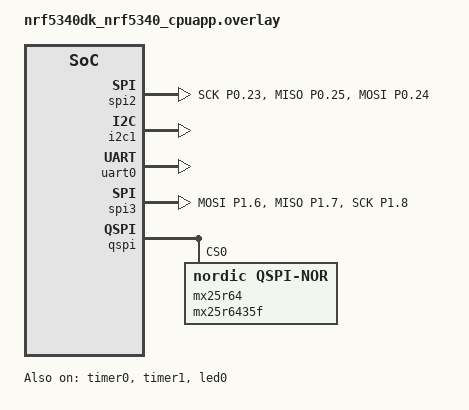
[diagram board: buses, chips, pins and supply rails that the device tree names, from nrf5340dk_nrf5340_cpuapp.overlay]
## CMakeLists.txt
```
# SPDX-License-Identifier: Apache-2.0

# This is a general purpose project created from MotionSenseHRV to be used for data collection.

# Ohio State SENSE LAB
cmake_minimum_required(VERSION 3.20.0)
find_package(Zephyr REQUIRED HINTS $ENV{ZEPHYR_BASE})
project(MotionSenseHrv)

if((NOT CONFIG_DISK_DRIVER_FLASH) AND
   (NOT CONFIG_DISK_DRIVER_RAM) AND
   (NOT CONFIG_DISK_DRIVER_SDMMC))
	message(WARNING "No disk access settings detected." )
endif()
#
#we previously used GLOB_RECURSE, but that was deprecated since we want to have control over what code is included.
FILE(GLOB_RECURSE app_sources src/*.cc)
FILE(GLOB_RECURSE c_app_sources src/*.c)
target_sources(app PRIVATE ${app_sources} 
${c_app_sources})

#if(CONFIG_BUILD_WITH_TFM)
#  target_include_directories(app PRIVATE
#    $<TARGET_PROPERTY:tfm,TFM_BINARY_DIR>/install/interface/include
#  )
#endif()
```

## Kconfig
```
# Copyright (c) 2019-2020 Nordic Semiconductor ASA
# SPDX-License-Identifier: Apache-2.0

config APP_WIPE_STORAGE
	bool "Option to clear the flash area before mounting"
	help
	  Use this to force an existing file system to be created.

choice
	prompt "Storage and file system type used by the application"
	default APP_MSC_STORAGE_NONE
	help
	  Specify the type of storage and file system.

config APP_MSC_STORAGE_NONE
	bool "Use RAM disk as block device"
	imply DISK_DRIVER_RAM

config APP_MSC_STORAGE_RAM
	bool "Use RAM disk and FAT file system"
	imply DISK_DRIVER_RAM
	imply FILE_SYSTEM
	imply FAT_FILESYSTEM_ELM

config APP_MSC_STORAGE_FLASH_FATFS
	bool "Use FLASH disk and FAT file system"
	imply DISK_DRIVER_FLASH
	imply FILE_SYSTEM
	imply FAT_FILESYSTEM_ELM

config APP_MSC_STORAGE_FLASH_LITTLEFS
	bool "Use FLASH disk and LittleFS"
	imply DISK_DRIVER_FLASH
	imply FILE_SYSTEM
	imply FILE_SYSTEM_LITTLEFS

config APP_MSC_STORAGE_SDCARD
	bool "Use SDHC and FAT file system"
	imply DISK_DRIVER_SDMMC
	imply FILE_SYSTEM
	imply FAT_FILESYSTEM_ELM

endchoice

config DISK_RAM_VOLUME_SIZE
	default 32 if APP_MSC_STORAGE_NONE

config MASS_STORAGE_DISK_NAME
	default "NAND" if DISK_DRIVER_FLASH
	default "RAM" if DISK_DRIVER_RAM
	default "SD" if DISK_DRIVER_SDMMC

if DISK_DRIVER_FLASH

config FLASH_MAP
	default y

config FLASH_PAGE_LAYOUT
	default y

config FLASH_LOG_LEVEL
	default 3

if NORDIC_QSPI_NOR

config NORDIC_QSPI_NOR_FLASH_LAYOUT_PAGE_SIZE
	default 4096

endif # NORDIC_QSPI_NOR

endif # DISK_DRIVER_FLASH

config MSENSE3_BLUETOOTH_DATA_UPDATES
	bool "Use MotionSenseHRV3Updates"
	default n

config BLUETOOTH_SETTINGS_OVERRIDE
	int "Override User Set Bluetooth Settings"
	default 1

source "Kconfig.zephyr"
```

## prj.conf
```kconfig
#CONFIG_NCS_SAMPLES_DEFAULTS=y

CONFIG_STDOUT_CONSOLE=y

# deprecated:
#CONFIG_CPLUSPLUS=y
#CONFIG_STD_CPP11=y
#CONFIG_NEWLIB_LIBC=y
#CONFIG_LIB_CPLUSPLUS=y


CONFIG_DEBUG_OPTIMIZATIONS=y
#CONFIG_SIZE_OPTIMIZATIONS=y





#Gpio Config
CONFIG_GPIO=y
CONFIG_NRFX_GPIOTE=y


# SPI Config
CONFIG_SPI=y
CONFIG_NRFX_QSPI=y

#I2C config
CONFIG_I2C=y


# Deprecated:
#CONFIG_SPI_1=y
# replace with this instead: CONFIG_NRFX_SPI1=y


#Log config
CONFIG_LOG=y
CONFIG_LOG_DEFAULT_LEVEL=3
CONFIG_LOG_MODE_MINIMAL=n
#CONFIG_RAM_CONSOLE=y
CONFIG_USE_SEGGER_RTT=y
CONFIG_LOG_BACKEND_RTT=y
CONFIG_RTT_CONSOLE=y
#CONFIG_UART_CONSOLE=n

CONFIG_LOG_PRINTK=y


# CMSIS config
CONFIG_CMSIS_DSP=y
CONFIG_CMSIS_DSP_BASICMATH=y
CONFIG_CMSIS_DSP_COMPLEXMATH=n
CONFIG_CMSIS_DSP_CONTROLLER=n
CONFIG_CMSIS_DSP_DISTANCE=n
CONFIG_CMSIS_DSP_FASTMATH=y
CONFIG_CMSIS_DSP_FILTERING=y
CONFIG_CMSIS_DSP_MATRIX=y
CONFIG_CMSIS_DSP_STATISTICS=y
CONFIG_CMSIS_DSP_TRANSFORM=n
CONFIG_CMSIS_DSP_SUPPORT=y

# timer config
CONFIG_NRFX_TIMER0=y
CONFIG_NRFX_TIMER1=y

#FPU config
CONFIG_FPU=y
CONFIG_FP_HARDABI=y


# Library for buttons and LEDs
CONFIG_DK_LIBRARY=y



# Enable bluetooth and bonding
CONFIG_BT=y

#CONFIG_BT_BONDABLE=y
#CONFIG_BT_BONDING_REQUIRED=y

#Deprecated:
#CONFIG_BT_DEBUG_LOG=y


CONFIG_BT_DEVICE_APPEARANCE=833


#CONFIG_BT_GAP_PERIPHERAL_PREF_PARAMS=y
#CONFIG_BT_MAX_CONN=1

CONFIG_BT_PERIPHERAL=y
CONFIG_BT_PERIPHERAL_PREF_MAX_INT=10
CONFIG_BT_PERIPHERAL_PREF_MIN_INT=6

#this is in miliseconds
CONFIG_BT_PERIPHERAL_PREF_TIMEOUT=100
CONFIG_BT_DEVICE_NAME="MotionSenseF2"

#maybe we will need this once on the actual device or something? I'm not sure
#CONFIG_BT_CTLR=y

#CONFIG_BT_CTLR_CONN_PARAM_REQ_SUPPORT=y
#CONFIG_BT_CTLR_CONN_PARAM_REQ=y
CONFIG_BT_SMP=y

# ENABLE device information service
CONFIG_BT_DIS=y
CONFIG_BT_DIS_MANUF="SenseLab"
CONFIG_BT_DIS_PNP=n
CONFIG_BT_DIS_MODEL="MOTIONSENSEHRV4"
CONFIG_BT_DIS_SETTINGS=y
CONFIG_BT_MAX_PAIRED=1

# Enable Battery settings
CONFIG_BT_BAS=y


#DFU/FOTA settings

#temporarily disabling for now

#CONFIG_MCUMGR=y
#
#CONFIG_STATS=y
#CONFIG_STATS_NAMES=y

#CONFIG_THREAD_MONITOR=y

#CONFIG_BOOTLOADER_MCUBOOT=y
#CONFIG_MCUBOOT_GENERATE_CONFIRMED_IMAGE=y
#CONFIG_MCUMGR_CMD_OS_MGMT=y
#CONFIG_MCUMGR_CMD_STAT_MGMT=y
#CONFIG_MCUMGR_CMD_IMG_MGMT=y
#CONFIG_MCUMGR_CMD_FS_MGMT=y
#CONFIG_MCUMGR_SMP_BT=y


#CONFIG_MCUMGR_LOG_LEVEL_DBG=n

#CONFIG_MCUMGR_SMP_BT_AUTHEN=n



#CONFIG_SETTINGS_RUNTIME=y

#CONFIG_SETTINGS_NONE=y
#CONFIG_FLASH=y
#CONFIG_FLASH_PAGE_LAYOUT=y
#CONFIG_FLASH_MAP=y
CONFIG_NVS=n


#CONFIG_APP_MSC_STORAGE_FLASH_LITTLEFS=y
# flash config

#CONFIG_FAT_FILESYSTEM_ELM=y

# not sure what this is
#CONFIG_MPU_ALLOW_FLASH_WRITE=y

#USB related configs
CONFIG_USB_DEVICE_STACK=y
CONFIG_USB_DEVICE_PRODUCT="Zephyr MSC sample"
CONFIG_USB_DEVICE_PID=0x0008

CONFIG_TEST_RANDOM_GENERATOR=y
CONFIG_TIMER_RANDOM_GENERATOR=y
CONFIG_USB_DRIVER_LOG_LEVEL_ERR=y
CONFIG_USB_MASS_STORAGE=y


CONFIG_DISK_DRIVER_FLASH=y
CONFIG_FILE_SYSTEM=y
#CONFIG_FILE_SYSTEM_LITTLEFS=y
#CONFIG_FAT_FILESYSTEM_ELM=y
CONFIG_APP_MSC_STORAGE_FLASH_LITTLEFS=y
CONFIG_FLASH_MAP=y
CONFIG_FLASH_PAGE_LAYOUT=y

CONFIG_NORDIC_QSPI_NOR_FLASH_LAYOUT_PAGE_SIZE=4096

CONFIG_GPIO_AS_PINRESET=n

CONFIG_USB_DEVICE_LOG_LEVEL_ERR=y
CONFIG_USB_MASS_STORAGE_LOG_LEVEL_ERR=y
CONFIG_USB_DEVICE_INITIALIZE_AT_BOOT=n




CONFIG_SYSTEM_WORKQUEUE_STACK_SIZE=30192
CONFIG_HEAP_MEM_POOL_SIZE=62384
CONFIG_MAIN_STACK_SIZE=50192
```

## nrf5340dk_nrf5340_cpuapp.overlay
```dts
// press Ctrl+Space to bring up the completion menu and view the available nodes.

// You can also use the buttons in the sidebar to perform actions on nodes.
// Actions currently available include:

// * Enabling / disabling the node
// * Adding the bus to a bus
// * Removing the node
// * Connecting ADC channels

// For more help, browse the DeviceTree documentation at https://docs.zephyrproject.org/latest/guides/dts/index.html
// You can also visit the nRF DeviceTree extension documentation at https://nrfconnect.github.io/vscode-nrf-connect/devicetree/nrfdevicetree.html


&timer0 {
    status = "okay";
};

&timer1 {
    status = "okay";
};


&led0 {
    status = "okay";
};


&arduino_adc {
    io-channel-map = <0 &adc 0>, <1 &adc 1>, <2 &adc 2>, <3 &adc 3>, <4 &adc 4>, <5 &adc 5>;
};


/ {
    aliases {
        customspi = &spi1;
		spi-flash0 = &mx25r64;
    };
};


/ {
	chosen {
	
		nordic,pm-ext-flash = &mx25r64;
	
		};
	};
	

/delete-node/ &storage_partition;






&spi2 {
compatible = "nordic,nrf-spim";
	status = "okay";
	cs-gpios = <&gpio0 26 GPIO_ACTIVE_LOW>;
	pinctrl-0 = <&spi1_default>;
	pinctrl-1 = <&spi1_sleep>;
	pinctrl-names = "default", "sleep";

};

// We need to disable i2c1, since we are already using spi1 and it is no longer needed (can't have 2 devices on the same unit).
&i2c1 {
	status = "okay";
	compatible = "nordic,nrf-twim";
};

/* 
&i2c0 {
	status = "okay";
	compatible = "nordic,nrf-twim";
	pinctrl-0 = < &i2c1_default>;
	pinctrl-1 = <&i2c1_sleep>;
	pinctrl-names = "default", "sleep";
};
*/

//uart cannot also be in operation, however, this means we have to use segger RTT, because uart is used for console output
&uart0 {
	status = "okay";
};


  
&spi3{
	compatible = "nordic,nrf-spim";
	status = "okay";
	cs-gpios = <&gpio1 5 1>;
	pinctrl-0 = < &ppg_default>;
	pinctrl-1 = <&ppg_sleep>;
	pinctrl-names = "default", "sleep";
};


//External Flash
/* 
&mx66u: mx66u2g45g@0{
	compatible = "nordic,qspi-nor";
	reg = <0>;
	
	writeoc = "pp4io";
	readoc = "read4io";
	sck-frequency = <8000000>;
	jedec-id = [c2 25 3c];
	sfdp-bfp = [
		e5 20 f1 ff  ff ff ff 03  44 eb 08 6b  08 3b 04 bb
		ee ff ff ff  ff ff 00 ff  ff ff 00 ff  0c 20 0f 52
		10 d8 00 ff  23 72 f5 00  82 ed 04 cc  44 83 68 44
		30 b0 30 b0  f7 c4 d5 5c  00 be 29 ff  f0 d0 ff ff
	];
	size = <67108864>;
	has-dpd;
	t-enter-dpd = <10000>;
	t-exit-dpd = <35000>;
	
}; 

*/

 /* 
&qspi {
	status = "okay";
	pinctrl-0 = <&qspi_default>;
	pinctrl-1 = <&qspi_sleep>;
	pinctrl-names = "default", "sleep";
	mx25r6435f@0 {
		compatible = "nordic,qspi-nor";
	reg = <0>;
	writeoc = "pp";
	readoc = "fastread";
	sck-frequency = <8000000>;
	jedec-id = [c2 25 3c];
	sfdp-bfp = [
		e5 20 f1 ff  ff ff ff 03  44 eb 08 6b  08 3b 04 bb
		ee ff ff ff  ff ff 00 ff  ff ff 00 ff  0c 20 0f 52
		10 d8 00 ff  23 72 f5 00  82 ed 04 cc  44 83 68 44
		30 b0 30 b0  f7 c4 d5 5c  00 be 29 ff  f0 d0 ff ff
	];
	size = <67108864>;
	has-dpd;
	t-enter-dpd = <10000>;
	t-exit-dpd = <35000>;
	};
};

*/
&qspi {
	status = "okay";
	pinctrl-0 = <&qspi_default>;
	pinctrl-1 = <&qspi_sleep>;
	pinctrl-names = "default", "sleep";
	mx25r64: mx25r6435f@0 {
		compatible = "nordic,qspi-nor";
	reg = <0>;
	//MX25R64 supports only pp and pp4io
	writeoc = "pp4io";
	//MX25R64 supports all readoc options
	readoc = "read4io";
	sck-frequency = <8000000>;
	jedec-id = [c2 28 17];
	sfdp-bfp = [
		e5 20 f1 ff  ff ff ff 03  44 eb 08 6b  08 3b 04 bb
		ee ff ff ff  ff ff 00 ff  ff ff 00 ff  0c 20 0f 52
		10 d8 00 ff  23 72 f5 00  82 ed 04 cc  44 83 68 44
		30 b0 30 b0  f7 c4 d5 5c  00 be 29 ff  f0 d0 ff ff
	];
	size = <67108864>;
	has-dpd;
	t-enter-dpd = <10000>;
	t-exit-dpd = <35000>;
	};
};



&pinctrl {
	//spi 1, imu sensor
    spi1_default: spi1_default {
		group1 {
			psels = <NRF_PSEL(SPIM_SCK, 0, 23)>,
				<NRF_PSEL(SPIM_MISO, 0, 25)>,
				<NRF_PSEL(SPIM_MOSI, 0, 24)>;
		};
	};

	spi1_sleep: spi1_sleep {
		group1 {
			psels = <NRF_PSEL(SPIM_SCK, 0, 23)>,
				<NRF_PSEL(SPIM_MISO, 0, 25)>,
				<NRF_PSEL(SPIM_MOSI, 0, 24)>;
			low-power-enable;
		};
	};

	
	//spi 4, ppg sensor
	ppg_default: ppg_default {
		group1 {
			psels = <NRF_PSEL(SPIM_MOSI, 1, 6)>, <NRF_PSEL(SPIM_MISO, 1, 7)>, <NRF_PSEL(SPIM_SCK, 1, 8)>;
		};
	};

	ppg_sleep: ppg_sleep {
		group1{
			psels = <NRF_PSEL(SPIM_MOSI, 1, 6)>, <NRF_PSEL(SPIM_MISO, 1, 7)>, <NRF_PSEL(SPIM_SCK, 1, 8)>;
			low-power-enable;
		};
	};
	
	/* 
	//battery, on i2c0
	i2c0_default: i2c0_default {
		group1 {
			psels = <NRF_PSEL(TWIM_SDA, 1, 2)>,
				<NRF_PSEL(TWIM_SCL, 1, 3)>;
		};
	};

	i2c0_sleep: i2c0_sleep {
		group1 {
			psels = <NRF_PSEL(TWIM_SDA, 1, 2)>,
				<NRF_PSEL(TWIM_SCL, 1, 3)>;
			low-power-enable;
		};
	};
	*/

};
```

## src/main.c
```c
/*
 * Copyright (c) 2016 Intel Corporation
 *
 * SPDX-License-Identifier: Apache-2.0
 */

#include <zephyr/kernel.h>
#include <zephyr/devicetree.h>
#include <zephyr/drivers/gpio.h>
#include <zephyr/drivers/spi.h>
#include <zephyr/drivers/i2c.h>
#include <zephyr/drivers/sensor.h>
#include <nrfx.h>
#include <nrfx_timer.h>
#include <nrfx_uarte.h>
#include <zephyr/logging/log.h>
#include <zephyr/usb/usb_device.h>
#include "batteryMonitor.h"
#include "ppgSensor.h"
#include "imuSensor.h"
#include "common.h"
#include "BLEService.h"
#include "filesystem/zephyrfilesystem.h"
#include <zephyr/bluetooth/bluetooth.h>
#include <zephyr/bluetooth/hci.h>
#include <zephyr/bluetooth/conn.h>
#include <zephyr/bluetooth/uuid.h>
#include <zephyr/bluetooth/gatt.h>

// dfu configuration
#define INCLUDE_DFU

#ifdef INCLUDE_DFU
#ifdef CONFIG_BOOTLOADER_MCUBOOT
#include "os_mgmt/os_mgmt.h"
#include "img_mgmt/img_mgmt.h"
#include "stats/stats.h"
#include "stat_mgmt/stat_mgmt.h"

#include <mgmt/mcumgr/smp_bt.h>
#endif
#endif

LOG_MODULE_REGISTER(main);

#define READMASTER 0x80

/* 1000 msec = 1 sec */
#define SLEEP_TIME_MS 1000

/* The devicetree node identifier for the "led0" alias. */
#define LED0_NODE DT_ALIAS(led0)

// #define LED0	DT_GPIO_LABEL(LED0_NODE, gpios)
// #define LED0 DEVICE_DT_NAME(LED0_NODE)
#define LED_PIN DT_GPIO_PIN(LED0_NODE, gpios)
#define LED_FLAGS DT_GPIO_FLAGS(LED0_NODE, gpios)

const struct device *gpioHandle_CS_IMU;
const struct device *gpioHandle_CS_ppg;

struct spi_cs_control imu_cs = {
    .delay = 0,
    .gpio = {.pin = 26, .dt_flags = GPIO_ACTIVE_LOW}};

// the gpio struct now requires a port? not sure what to do in this case
struct spi_cs_control ppg_cs = {
    .delay = 0,
    .gpio = {
        .pin = 15,
        .dt_flags = GPIO_ACTIVE_LOW,
    }};
/*
------------------------------------------------------------------------------------
SPI Mode    CPOL 	CPHA 	Clock Polarity  Clock Phase Used to
                                in Idle State 	Sample and/or Shift the Data
------------------------------------------------------------------------------------
0               0         0 	Logic low 	Data sampled on rising edge and
                                                shifted out on the falling edge
1               0         1 	Logic low 	Data sampled on the falling edge and
                                                shifted out on the rising edge
2               1         1 	Logic high 	Data sampled on the falling edge and
                                                shifted out on the rising edge
3               1         0 	Logic high 	Data sampled on the rising edge and
                                                shifted out on the falling edge
-------------------------------------------------------------------------------------
*/
// SPI Mode-3 IMU
struct spi_config spi_cfg_imu =
{
    .frequency = 1000000,
    .operation = SPI_WORD_SET(8) | SPI_TRANSFER_MSB |
                 SPI_MODE_CPOL | SPI_MODE_CPHA,
    .slave = 0,
    // this should work, but for some reason it doesn't. However, this might work without
    // the cs field anyway, apparently it is auto managed, so test first
    //.cs = SPI_CS_CONTROL_PTR_DT(DT_NODELABEL(spi2), 0)
    };

//struct spi_config spi_cfg_imu2 = SPI_CONFIG_DT(DT_NODELABEL(spi2), spi_cfg_imu.operation, 0);

// SPI Mode-3 PPG
struct spi_config spi_cfg_ppg = {
    .frequency = 4000000,
    .operation = SPI_WORD_SET(8) | SPI_TRANSFER_MSB |
                 SPI_MODE_CPOL | SPI_MODE_CPHA,
    .slave = 0,
    /* only in version 2.5: .cs= {
  .delay = 0,
  .gpio = {.pin = 15, .dt_flags=GPIO_ACTIVE_LOW, }
  },
  */
};

struct ppg_configData ppgConfig;
struct ppgData ppgData1;

const struct device *spi_dev_ppg, *spi_dev_imu;
const struct device *i2c_dev;

struct bq274xx_data batteryMonitor;
struct bq274xx_config batteryMonitorConfig;

uint8_t blePktTFMicro[ble_tfMicroPktLength];

struct accData accData1;
struct gyroData gyroData1;
struct magnetoData magnetoData1;

struct accel_config accelConfig;
struct gyro_config gyroConfig;
struct magneto_config magnetoConfig;
struct orientation_config orientationConfig;

#define DEVICE_NAME CONFIG_BT_DEVICE_NAME
#define DEVICE_NAME_LEN (sizeof(DEVICE_NAME) - 1)

#define DIS_FW_REV_STR CONFIG_BT_DIS_FW_REV_STR
#define DIS_FW_REV_STR_LEN (sizeof(DIS_FW_REV_STR))

#define DIS_HW_REV_STR CONFIG_BT_DIS_HW_REV_STR
#define DIS_HW_REV_STR_LEN (sizeof(DIS_HW_REV_STR))

#define DIS_MANUF CONFIG_BT_DIS_MANUF
#define DIS_MANUF_LEN (sizeof(DIS_MANUF))

#define DIS_MODEL CONFIG_BT_DIS_MODEL
#define DIS_MODEL_LEN (sizeof(DIS_MODEL))

#define RUN_STATUS_LED DK_LED1

static K_SEM_DEFINE(ble_init_ok, 0, 1);

uint16_t global_counter;

static const struct bt_data ad[] = {
    BT_DATA_BYTES(BT_DATA_FLAGS, (BT_LE_AD_GENERAL | BT_LE_AD_NO_BREDR)),
    BT_DATA(BT_DATA_NAME_COMPLETE, DEVICE_NAME, DEVICE_NAME_LEN),
};

static const struct bt_data sd[] = {
    BT_DATA_BYTES(BT_DATA_UUID128_ALL, TFMICRO_SERVICE_UUID),
};

struct bt_conn *my_connection;

// Setting up the device information service
static int settings_runtime_load(void)
{
#ifdef CONFIG_BOOTLOADER_MCUBOOT
  settings_runtime_set("bt/dis/model",
                       DIS_MODEL, DIS_MODEL_LEN);
  settings_runtime_set("bt/dis/manuf",
                       DIS_MANUF, DIS_MANUF_LEN);
  settings_runtime_set("bt/dis/fw",
                       DIS_FW_REV_STR, DIS_FW_REV_STR_LEN);
  settings_runtime_set("bt/dis/hw",
                       DIS_HW_REV_STR, DIS_HW_REV_STR_LEN);
#endif

  return 0;
}

static bool le_param_req(struct bt_conn *conn, struct bt_le_conn_param *param)
{
  // If acceptable params, return true, otherwise return false.
  if ((param->interval_min > 9) && (param->interval_max > 20))
    return false;
  else
    return true;
}

static void le_param_updated(struct bt_conn *conn, uint16_t interval, uint16_t latency, uint16_t timeout)
{
  struct bt_conn_info info;
  char addr[BT_ADDR_LE_STR_LEN];

  if (bt_conn_get_info(conn, &info))
    printk("Could not parse connection info\n");
  else
  {
    bt_addr_le_to_str(bt_conn_get_dst(conn), addr, sizeof(addr));
    printk("Connection parameters updated!	\n\
      Connected to: %s						\n\
      New Connection Interval: %u				\n\
      New Slave Latency: %u					\n\
      New Connection Supervisory Timeout: %u	\n",
           addr, info.le.interval, info.le.latency, info.le.timeout);
  }
}

static struct bt_conn_cb conn_callbacks = {
    .connected = connected,
    .disconnected = disconnected,
    .le_param_req = le_param_req,
    .le_param_updated = le_param_updated};

static void bt_ready(int err)
{
  if (err)
  {
    printk("BLE init failed with error code %d\n", err);
    return;
  }
  else
    printk("BLE init success\n");

  settings_load();

  settings_runtime_load();

  // Configure connection callbacks
  bt_conn_cb_register(&conn_callbacks);

  // Initalize services
  err = tfMicro_service_init();

  if (err)
    return;

  // Start advertising
  const struct bt_le_adv_param v = {
      .id = BT_ID_DEFAULT,
      .sid = 0,
      .secondary_max_skip = 0,
      .options = BT_LE_ADV_OPT_CONNECTABLE,
      .interval_min = BT_GAP_ADV_FAST_INT_MIN_2,
      .interval_max = BT_GAP_ADV_FAST_INT_MAX_2,
      .peer = NULL};

  err = bt_le_adv_start(&v, ad, ARRAY_SIZE(ad), sd, ARRAY_SIZE(sd));
  if (err)
    printk("Advertising failed to start (err %d)\n", err);
  else
  {
    printk("Advertising successfully started\n");
  }

  k_sem_give(&ble_init_ok);
}

// Initialize BLE
static void ble_init(void)
{
  int err;
  err = bt_enable(bt_ready);
  if (err)
  {
    printk("BLE initialization failed\n");
  }

  if (!err)
    printk("Bluetooth initialized\n");
  else
  {
    printk("BLE initialization did not complete in time\n");
  }
  if (err)
    printk("Bluetooth init failed (err %d)\n", err);
}

// Timer handler that periodically executes commands with a period,
// which is defined by the macro-variable TIMER_MS
static void spi_init(void)
{
  uint32_t dataFlash;
  // device_get_binding is used for runtime checking of devices. We can still use it but we have to be carefull to select the right names
  const char *const spiName_imu = "spi@9000";
  const char *const spiName_ppg = "spi@a000";

  spi_dev_imu = DEVICE_DT_GET(DT_NODELABEL(spi2)); // device_get_binding(spiName_imu);
  gpioHandle_CS_IMU = DEVICE_DT_GET(DT_NODELABEL(gpio0));

  spi_dev_ppg = device_get_binding(spiName_ppg);
  gpioHandle_CS_ppg = DEVICE_DT_GET(DT_NODELABEL(gpio1));

  if (!device_is_ready(gpioHandle_CS_IMU))
  {
    printk("Could not get GPIO_0\n");
    return;
  }

  if (!device_is_ready(gpioHandle_CS_ppg))
  {
    printk("Could not get GPIO_1\n");
    return;
  }
  if (spi_dev_imu == NULL || !device_is_ready(spi_dev_imu))
  {
    printk("Could not get %s device\n", spiName_imu);
    return;
  }

  if (spi_dev_ppg == NULL || !device_is_ready(spi_dev_ppg))
  {
    printk("Could not get %s device\n", spiName_ppg);
    return;
  }
  
  imu_cs.gpio.port = gpioHandle_CS_IMU;
  ppg_cs.gpio.port = gpioHandle_CS_ppg;
  

  //spi_cfg_ppg.gpio.port = gpioHandle_CS_ppg;
  //spi_cfg_imu.cs = &imu_cs;
  //spi_cfg_ppg.cs = &ppg_cs; // version 2.5: .gpio.port = gpioHandle_CS_ppg;

  getIMUID();
  ppgConfig.isEnabled = true;
  ppgConfig.sample_avg = 0x08;
  ppgConfig.green_intensity = 0x28;
  ppgConfig.infraRed_intensity = 0x28;
  ppgConfig.sampling_time = 0x28;
  ppgConfig.numCounts = 8;
  ppgConfig.txPacketEnable = true;
  // high_pass_filter_init_25();

  // fileOpen();
  dataFlash = (((uint32_t)ppgConfig.green_intensity) << 8) + ((uint32_t)ppgConfig.infraRed_intensity);
  printk("data combo = %d,%d,%d\n", dataFlash, ((uint32_t)ppgConfig.green_intensity) << 8, (uint32_t)ppgConfig.infraRed_intensity);
  // fileWrite(dataFlash);
  // fileClose();

  accelConfig.isEnabled = true;
  accelConfig.txPacketEnable = true;
  accelConfig.sample_bw = ACCEL_DLPFCFG_12HZ;
  accelConfig.sensitivity = ACCEL_FS_SEL_4g;

  gyroConfig.isEnabled = true;
  gyroConfig.txPacketEnable = true;
  gyroConfig.tot_samples = 8;
  gyroConfig.sensitivity = GYRO_FS_SEL_250;
  orientationConfig.isEnabled = true;
  orientationConfig.txPacketEnable = true;

  magnetoConfig.isEnabled = false;
  magnetoConfig.txPacketEnable = true;
  tfMicroCoonfig.isEnabled = true;
  tfMicroCoonfig.txPacketEnable = true;

  configRead[1] = IMU_ENABLE | MAGNETOMETER_ENABLE | PPG_ENABLE |
                  ORIENTATION_ENABLE | TFMICRO_ENABLE;
  configRead[0] = MOTION_BLE_ENABLE | MAGNETOMETER_BLE_ENABLE |
                  PPG_BLE_ENABLE | ORIENTATION_BLE_ENABLE | TFMICRO_BLE_ENABLE;
  configRead[2] = ppgConfig.green_intensity;
  configRead[3] = ppgConfig.infraRed_intensity;
  configRead[4] = 0x12;
  configRead[5] = 0x44;
}

void spi_verify_sensor_ids()
{
  uint8_t tx_buffer[4], rx_buffer[4];
  tx_buffer[0] = READMASTER | 0x00;
  tx_buffer[1] = 0xFF;
  uint8_t txLen = 2, rxLen = 2;
  if (device_is_ready(spi_dev_imu))
  {
    spiReadWriteIMU(tx_buffer, txLen, rx_buffer, rxLen);
    printk("Chip ID from motion sensor=%x\n", rx_buffer[1]);
  }
  else
  {
    LOG_WRN("IMU not ready, setup was avoided");
  }

  tx_buffer[0] = 0xFF;
  tx_buffer[1] = READMASTER;
  tx_buffer[2] = 0x00;

  txLen = 3;
  rxLen = 3;
  if (device_is_ready(spi_dev_ppg))
  {
    spiRead_registerPPG(tx_buffer, txLen, rx_buffer, rxLen);
    printk("Chip ID from ppg sensor=%x,%x,%x\n", rx_buffer[0], rx_buffer[1], rx_buffer[2]);
  }
  else
  {
    LOG_WRN("ppg not ready, setup was avoided");
  }
}

static void i2c_init(void)
{
  printk("The I2C Init started\n");
  i2c_dev = device_get_binding("I2C_0");
  if (!i2c_dev)
  {
    printk("Binding failed to i2c.");
    return;
  }
  i2c_configure(i2c_dev, I2C_SPEED_SET(I2C_SPEED_STANDARD));

  batteryMonitorConfig.design_capacity = 0x00AA;   // 170 mAHour
  batteryMonitorConfig.taper_current = 0x0015;     // 21 mA
  batteryMonitorConfig.terminate_voltage = 0x0C1C; // 3100 mV
  bq274xx_gauge_init(&batteryMonitorConfig);
}

// Timer handler that periodically executes commands with a period,
// which is defined by the macro-variable TIMER_MS

#define WORKQUEUE_PRIORITY -1
#define WORKQUEUE_STACK_SIZE 20048
K_THREAD_STACK_DEFINE(my_stack_area, WORKQUEUE_STACK_SIZE);

void start_file_system_workqueue()
{
}

void main(void)
{

  printk("Starting Application... \n");
  LOG_INF("Starting Logging...\n");

  // Setup our Flash Filesystem
  setup_disk();

// this initializes FOTA
#ifdef INCLUDE_DFU
#ifdef CONFIG_BOOTLOADER_MCUBOOT
  os_mgmt_register_group();

  img_mgmt_register_group();
  smp_bt_register();
#endif
#endif

  bool led_is_on = true;

  // the "1" is the timer priority
  IRQ_CONNECT(TIMER1_IRQn, 1,
              nrfx_timer_1_irq_handler, NULL, 0);

  // Init, verify ID and config sensors
  spi_init();
  spi_verify_sensor_ids();

  ppg_config();
  motion_config();

  i2c_init();

  k_work_queue_init(&my_work_q);
  k_work_queue_start(&my_work_q, my_stack_area,
                     K_THREAD_STACK_SIZEOF(my_stack_area), WORKQUEUE_PRIORITY, NULL);
  k_work_init(&my_battery.work, bas_notify);
  k_work_init(&my_motionSensor.work, motion_data_timeout_handler);
  k_work_init(&my_ppgSensor.work, read_ppg_fifo_buffer);
  k_work_init(&my_motionData.work, motion_notify);
#ifdef CONFIG_MSENSE3_BLUETOOTH_DATA_UPDATES
  k_work_init(&my_magnetoSensor.work, magneto_notify);
  k_work_init(&my_orientaionSensor.work, orientation_notify);
  k_work_init(&my_ppgDataSensor.work, ppgData_notify);
#endif

  // TODO: make the file system init properly
  k_work_init(&work_item.work, work_write);

  ble_init();

  // dev = device_get_binding(LED0);
  // dev = DEVICE_DT_GET(LED0_NODE);
  // if (dev == NULL || !device_is_ready(dev)){
  int ret;
  ret = gpio_pin_configure(gpioHandle_CS_IMU, LED_PIN, GPIO_OUTPUT_ACTIVE | LED_FLAGS);
  if (ret < 0)
  {
    printk("Error: Can't initialize LED");
    // return;
  }

  // sys_slist_t* work_queue = &k_sys_work_q.pending;
  uint8_t m_tx_buf[2] = {REG_BANK_SEL | WRITEMASTER, REG_BANK_0}; /**< TX buffer. */
  uint8_t m_rx_buf[15];                                           /**< RX buffer. */
  int storage_update = 14;
  
  while (1)
  {
    usb_enable(usb_status_cb);
    printk("%d %d\n", connectedFlag, collecting_data);
    
    if (!connectedFlag)
    // blink the LED while we aren't connected.
      led_is_on = !led_is_on;
    else
    {
      //When Connected, LED is always on for now, but we can change to 0 so tha it only blinks once every 15 cycles
      led_is_on = 1;
      storage_update++;
      // update how much storage we have left every 15 cycles 
      if (storage_update >= 15)
      {
        led_is_on = 1;
        get_storage_percent_full();
        get_current_unix_time();
        storage_update = 0;
      }
    }
    gpio_pin_set(gpioHandle_CS_IMU, LED_PIN, (int)led_is_on);
    k_msleep(SLEEP_TIME_MS);
  }
}
```

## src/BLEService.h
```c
#ifndef BLESERVICE_H_
#define BLESERVICE_H_
#include <zephyr/types.h>
#include <stddef.h>
#include <string.h>
#include <errno.h>
#include <zephyr/kernel.h>
#include <soc.h>
#include "common.h"
#include <zephyr/bluetooth/bluetooth.h>
#include <zephyr/bluetooth/hci.h>
#include <zephyr/bluetooth/conn.h>
#include <zephyr/bluetooth/uuid.h>
#include <zephyr/bluetooth/gatt.h>

extern uint8_t gyro_first_read;
extern uint8_t magneto_first_read;  
extern uint8_t ppgRead;
extern bool ppgTFPass;

extern bool connectedFlag;
extern bool collecting_data;


#define TFMICRO_DATA_LEN 66
#define PPG_DATA_LEN 18
#define PPG_DATA_UNFILTER_LEN 12
#define ACC_GYRO_DATA_LEN 20
#define MAGNETOMETER_DATA_LEN 8
#define ORIENTATION_DATA_LEN 18
#define CONFIG_RX_DATA_LEN 6
#define PPGQUALITY_DATA_LEN 4
#define ACCQUALITY_DATA_LEN 4

#define BLE_ATTR_PRIMARY_SERVICE 0
#define BLE_ATTR_CONFIG_CHARACTERISTIC 1
#define BLE_ATTR_TFMICRO_CHARACTERISTIC 4
#define BLE_ATTR_PPG_CHARACTERISTIC 8
#define BLE_ATTR_ACC_CHARACTERISTIC 13
#define BLE_ATTR_MAGNETO_CHARACTERISTIC 18
#define BLE_ATTR_ORIENTATION_CHARACTERISTIC 22


// BLE CONFIG COMMAND
#define BLE_CONFIG_SENSOR_ENABLE 0x00
#define BLE_CONFIG_GYRO_SENSITIVITY 0x01
#define BLE_CONFIG_ACC_SENSITIVITY 0x02
#define BLE_CONFIG_LED_INTENSITY_GREEN 0x03
#define BLE_CONFIG_LED_INTENSITY_IR 0x04
#define BLE_CONFIG_SAMPLING_RATE_ACC 0x05
#define BLE_CONFIG_SAMPLING_RATE_PPG 0x06

// BLE CONFIG DATA
#define IMU_ENABLE 0x02
#define MOTION_BLE_ENABLE 0x02
#define MAGNETOMETER_ENABLE 0x10
#define MAGNETOMETER_BLE_ENABLE 0x10
#define PPG_ENABLE 0x01
#define PPG_BLE_ENABLE 0x01
#define ORIENTATION_ENABLE 0x04
#define ORIENTATION_BLE_ENABLE 0x04
#define TFMICRO_ENABLE 0x08
#define TFMICRO_BLE_ENABLE 0x08
#define GYRO_250_DPS 0x00
#define GYRO_500_DPS 0x01
#define GYRO_1000_DPS 0x02
#define GYRO_2000_DPS 0x03
#define ACC_2G 0x00
#define ACC_4G 0x01
#define ACC_8G 0x02
#define ACC_16G 0x03
#define MOTION_200_FS 0x00
#define MOTION_100_FS 0x01
#define MOTION_50_FS 0x02
#define MOTION_25_FS 0x03
#define PPG_200_FS 0x01
#define PPG_100_FS 0x02
#define PPG_50_FS 0x03
#define PPG_25_FS 0x04

// Main Service UUID 
#define TFMICRO_SERVICE_UUID  0x1F, 0x35, 0xBD, 0x4B, 0xAE, 0xD0, 0x68, 0x9C, \
  0xE2, 0x48, 0x81, 0x1D, 0x30, 0xC9, 0x39, 0xDA    

// Configuration characteristic UUID
#define RX_CHARACTERISTIC_UUID  0x1F, 0x35, 0xBD, 0x4B, 0xAE, 0xD0, 0x68, 0x9C, \
  0xE2, 0x48, 0x81, 0x1D, 0x21, 0xC9, 0x39, 0xDA       

// TF micro PPG HR characteristic UUID
#define TF_HR_TX_CHARACTERISTIC_UUID  0x1F, 0x35, 0xBD, 0x4B, 0xAE, 0xD0, 0x68, 0x9C, \
  0xE2, 0x48, 0x81, 0x1D, 0x22, 0xC9, 0x39, 0xDA       
	
// PPG data characteristic UUID
#define PPG_TX_CHARACTERISTIC_UUID  0x1F, 0x35, 0xBD, 0x4B, 0xAE, 0xD0, 0x68, 0x9C, \
  0xE2, 0x48, 0x81, 0x1D, 0x23, 0xC9, 0x39, 0xDA         
                                           
// Acc and Gyro data characteristic UUID
#define ACC_GRYO_TX_CHARACTERISTIC_UUID  0x1F, 0x35, 0xBD, 0x4B, 0xAE, 0xD0, 0x68, 0x9C, \
  0xE2, 0x48, 0x81, 0x1D, 0x24, 0xC9, 0x39, 0xDA   

// Magnetometer data characteristic UUID
#define MAGNETO_TX_CHARACTERISTIC_UUID  0x1F, 0x35, 0xBD, 0x4B, 0xAE, 0xD0, 0x68, 0x9C, \
  0xE2, 0x48, 0x81, 0x1D, 0x25, 0xC9, 0x39, 0xDA   

// Orientation data characteristic UUID
#define ORIENTATION_TX_CHARACTERISTIC_UUID  0x1F, 0x35, 0xBD, 0x4B, 0xAE, 0xD0, 0x68, 0x9C, \
  0xE2, 0x48, 0x81, 0x1D, 0x26, 0xC9, 0x39, 0xDA  
   
// PPG Singal quality descriptor characteristic UUID
#define PPG_QUALITY_CHARACTERISTIC_UUID  0x1F, 0x35, 0xBD, 0x4B, 0xAE, 0xD0, 0x68, 0x9C, \
  0xE2, 0x48, 0x81, 0x1D, 0x27, 0xC9, 0x39, 0xDA   




// Acc Singal quality descriptor characteristic UUID
#define ACC_QUALITY_CHARACTERISTIC_UUID  0x1F, 0x35, 0xBD, 0x4B, 0xAE, 0xD0, 0x68, 0x9C, \
  0xE2, 0x48, 0x81, 0x1D, 0x28, 0xC9, 0x39, 0xDA   

#define WRITE_ENABLE_CHARACTERISTIC_UUID 0x1F, 0x35, 0xBD, 0x4B, 0xAE, 0xD0, 0x68, 0x9C, \
  0xE2, 0x48, 0x81, 0x1D, 0x31, 0xC9, 0x39, 0xDA

#define WRITE_DATE_CHARACTERISTIC_UUID 0x1F, 0x35, 0xBD, 0x4B, 0xAE, 0xD0, 0x68, 0x9C, \
  0xE2, 0x48, 0x81, 0x1D, 0x32, 0xC9, 0x39, 0xDA

#define WRITE_PATIENT_CHARACTERISTIC_UUID 0x1F, 0x35, 0xBD, 0x4B, 0xAE, 0xD0, 0x68, 0x9C, \
  0xE2, 0x48, 0x81, 0x1D, 0x33, 0xC9, 0x39, 0xDA

#define STATUS_SERVICE_UUID 0x1F, 0x35, 0xBD, 0x4B, 0xAE, 0xD0, 0x68, 0x9C, \
  0xE2, 0x48, 0x81, 0x1D, 0x40, 0xC9, 0x39, 0xDA

#define READ_STORAGE_LEFT_UUID 0x1F, 0x35, 0xBD, 0x4B, 0xAE, 0xD0, 0x68, 0x9C, \
  0xE2, 0x48, 0x81, 0x1D, 0x41, 0xC9, 0x39, 0xDA

#define UPDATE_SERVICE_UUID 0x1F, 0x35, 0xBD, 0x4B, 0xAE, 0xD0, 0x68, 0x9C, \
  0xE2, 0x48, 0x81, 0x1D, 0x50, 0xC9, 0x39, 0xDA

#define NOTIFY_ENMO_CHARACTERISTIC_UUID 0x1F, 0x35, 0xBD, 0x4B, 0xAE, 0xD0, 0x68, 0x9C, \
  0xE2, 0x48, 0x81, 0x1D, 0x51, 0xC9, 0x39, 0xDA

extern uint8_t configRead[6];
extern uint8_t ppgQuality[4];
extern uint8_t accQuality[4];

/** @brief Callback type for when new data is received. */
typedef void (*data_rx_cb_t)(uint8_t *data, uint8_t length);

/** @brief Callback struct used by the tfMicro_service Service. */
struct tfMicro_service_cb {
  /** Data received callback. */
  data_rx_cb_t    data_rx_cb;
};
struct TfMicroInfo {
    struct k_work work;
    uint8_t *dataPacket;
    uint8_t packetLength;
}; 

struct motionSendInfo {
    struct k_work work;
    uint8_t *dataPacket;
    uint8_t packetLength;
}; 
extern struct TfMicroInfo my_HeartRateEncoder;  // work-queue instance for tflite notifications
extern struct motionSendInfo my_motionData;  // work-queue instance for tflite notifications

void connected(struct bt_conn *conn, uint8_t err);
void disconnected(struct bt_conn *conn, uint8_t reason);

int tfMicro_service_init(void);

static void on_sent(struct bt_conn *conn, void *user_data);
void tfMicro_service_send(struct bt_conn *conn, const uint8_t *data, uint16_t len);
void tfMicro_notify(struct k_work *);
void ppg_send(struct bt_conn *conn, const uint8_t *data, uint16_t len);
void acc_send(struct bt_conn *conn, const uint8_t *data, uint16_t len);
void magnetometer_send(struct bt_conn *conn, const uint8_t *data, uint16_t len);
void orientation_send(struct bt_conn *conn, const uint8_t *data, uint16_t len);
void motion_notify(struct k_work *item);
void magneto_notify(struct k_work *item);
void orientation_notify(struct k_work *item);
void ppgData_notify(struct k_work *item);
void on_cccd_changed(const struct bt_gatt_attr *attr, uint16_t value);
static ssize_t configSet(struct bt_conn *,const struct bt_gatt_attr *, void *, uint16_t , uint16_t );
static ssize_t read_ppg_quality(struct bt_conn *,const struct bt_gatt_attr *, void *, uint16_t , uint16_t );
static ssize_t read_acc_quality(struct bt_conn *,const struct bt_gatt_attr *, void *, uint16_t , uint16_t );


static ssize_t read_storage_left(struct bt_conn *conn,const struct bt_gatt_attr *attr, void *buf,
  uint16_t len, uint16_t offset);
  static ssize_t bt_turn_off(struct bt_conn* conn, const struct bt_gatt_attr* attr, const void* buff, uint16_t len, 
uint16_t offset, uint8_t flags);
static ssize_t bt_write_patient_num(struct bt_conn* conn, const struct bt_gatt_attr* attr, const void* buff, uint16_t len, 
uint16_t offset, uint8_t flags);
static ssize_t bt_write_date_time(struct bt_conn* conn, const struct bt_gatt_attr* attr, const void* buff, uint16_t len, 
uint16_t offset, uint8_t flags);
static ssize_t write_enable_value(struct bt_conn* conn, const struct bt_gatt_attr* attr, const void* buff, uint16_t len, 
uint16_t offset, uint8_t flags);


 #endif
```

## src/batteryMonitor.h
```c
#include <zephyr/types.h>
#include <zephyr/kernel.h>

#include <zephyr/settings/settings.h>
#include "common.h"


/*** General Constant ***/
#define BQ274XX_UNSEAL_KEY 0x8000 /* Secret code to unseal the BQ27441-G1A */
#define BQ274XX_DEVICE_ID 0x0421 /* Default device ID */

/*** Standard Commands ***/
#define BQ274XX_COMMAND_CONTROL_LOW 0x00 /* Control() low register */
#define BQ274XX_COMMAND_CONTROL_HIGH 0x01 /* Control() high register */
#define BQ274XX_COMMAND_TEMP 0x02 /* Temperature() */
#define BQ274XX_COMMAND_VOLTAGE 0x04 /* Voltage() */
#define BQ274XX_COMMAND_FLAGS 0x06 /* Flags() */
#define BQ274XX_COMMAND_NOM_CAPACITY 0x08 /* NominalAvailableCapacity() */
#define BQ274XX_COMMAND_AVAIL_CAPACITY 0x0A /* FullAvailableCapacity() */
#define BQ274XX_COMMAND_REM_CAPACITY 0x0C /* RemainingCapacity() */
#define BQ274XX_COMMAND_FULL_CAPACITY 0x0E /* FullChargeCapacity() */
#define BQ274XX_COMMAND_AVG_CURRENT 0x10 /* AverageCurrent() */
#define BQ274XX_COMMAND_STDBY_CURRENT 0x12 /* StandbyCurrent() */
#define BQ274XX_COMMAND_MAX_CURRENT 0x14 /* MaxLoadCurrent() */
#define BQ274XX_COMMAND_AVG_POWER 0x18 /* AveragePower() */
#define BQ274XX_COMMAND_SOC 0x1C /* StateOfCharge() */
#define BQ274XX_COMMAND_INT_TEMP 0x1E /* InternalTemperature() */
#define BQ274XX_COMMAND_SOH 0x20 /* StateOfHealth() */
#define BQ274XX_COMMAND_REM_CAP_UNFL 0x28 /* RemainingCapacityUnfiltered() */
#define BQ274XX_COMMAND_REM_CAP_FIL 0x2A /* RemainingCapacityFiltered() */
#define BQ274XX_COMMAND_FULL_CAP_UNFL 0x2C /* FullChargeCapacityUnfiltered() */
#define BQ274XX_COMMAND_FULL_CAP_FIL 0x2E /* FullChargeCapacityFiltered() */
#define BQ274XX_COMMAND_SOC_UNFL 0x30 /* StateOfChargeUnfiltered() */

/*** Control Sub-Commands ***/
#define BQ274XX_CONTROL_STATUS 0x0000
#define BQ274XX_CONTROL_DEVICE_TYPE 0x0001
#define BQ274XX_CONTROL_FW_VERSION 0x0002
#define BQ274XX_CONTROL_DM_CODE 0x0004
#define BQ274XX_CONTROL_PREV_MACWRITE 0x0007
#define BQ274XX_CONTROL_CHEM_ID 0x0008
#define BQ274XX_CONTROL_BAT_INSERT 0x000C
#define BQ274XX_CONTROL_BAT_REMOVE 0x000D
#define BQ274XX_CONTROL_SET_HIBERNATE 0x0011
#define BQ274XX_CONTROL_CLEAR_HIBERNATE 0x0012
#define BQ274XX_CONTROL_SET_CFGUPDATE 0x0013
#define BQ274XX_CONTROL_SHUTDOWN_ENABLE 0x001B
#define BQ274XX_CONTROL_SHUTDOWN 0x001C
#define BQ274XX_CONTROL_SEALED 0x0020
#define BQ274XX_CONTROL_PULSE_SOC_INT 0x0023
#define BQ274XX_CONTROL_RESET 0x0041
#define BQ274XX_CONTROL_SOFT_RESET 0x0042
#define BQ274XX_CONTROL_EXIT_CFGUPDATE 0x0043
#define BQ274XX_CONTROL_EXIT_RESIM 0x0044

/*** Extended Data Commands ***/
#define BQ274XX_EXTENDED_OPCONFIG 0x3A /* OpConfig() */
#define BQ274XX_EXTENDED_CAPACITY 0x3C /* DesignCapacity() */
#define BQ274XX_EXTENDED_DATA_CLASS 0x3E /* DataClass() */
#define BQ274XX_EXTENDED_DATA_BLOCK 0x3F /* DataBlock() */
#define BQ274XX_EXTENDED_BLOCKDATA_START 0x40 /* BlockData_start() */
#define BQ274XX_EXTENDED_BLOCKDATA_END 0x5F /* BlockData_end() */
#define BQ274XX_EXTENDED_CHECKSUM 0x60 /* BlockDataCheckSum() */
#define BQ274XX_EXTENDED_DATA_CONTROL 0x61 /* BlockDataControl() */
#define BQ274XX_EXTENDED_BLOCKDATA_DESIGN_CAP_HIGH 0x4A /* BlockData */
#define BQ274XX_EXTENDED_BLOCKDATA_DESIGN_CAP_LOW 0x4B
#define BQ274XX_EXTENDED_BLOCKDATA_DESIGN_ENR_HIGH 0x4C
#define BQ274XX_EXTENDED_BLOCKDATA_DESIGN_ENR_LOW 0x4D
#define BQ274XX_EXTENDED_BLOCKDATA_TERMINATE_VOLT_HIGH 0x50
#define BQ274XX_EXTENDED_BLOCKDATA_TERMINATE_VOLT_LOW 0x51
#define BQ274XX_EXTENDED_BLOCKDATA_TAPERRATE_HIGH 0x5B
#define BQ274XX_EXTENDED_BLOCKDATA_TAPERRATE_LOW 0x5C

#define BQ274XX_DELAY 1000
extern const struct device *i2c_dev;
struct bq274xx_data {
	uint16_t voltage;
	uint16_t avg_current;
	uint16_t stdby_current;
	uint16_t max_load_current;
	uint16_t avg_power;
	uint16_t state_of_charge;
	uint16_t state_of_health;
	uint16_t internal_temperature;
	uint16_t full_charge_capacity;
	uint16_t remaining_charge_capacity;
	uint16_t nom_avail_capacity;
	uint16_t full_avail_capacity;
};

struct bq274xx_config {
	uint16_t design_capacity;
	uint16_t taper_current;
	uint16_t terminate_voltage;
};

struct batteryInfo {
    struct k_work work;
    uint8_t battery_value; // user-defined value to pass as input to the work-queue
}; // work queue structure used to execute Batter level notification in a interrupt service handler initiated by a timer. 
extern struct batteryInfo my_battery ;  // work-queue instance for batter level
 int bq274xx_command_reg_read(uint8_t reg_addr, uint16_t* val);
 int bq274xx_control_reg_write(uint16_t subcommand);
 int bq274xx_command_reg_write( uint8_t command,
				     uint8_t data);
 int bq274xx_read_data_block( uint8_t offset,
				   uint8_t *data, uint8_t bytes);
 int bq274xx_get_device_type( uint16_t *val);
extern int bq274xx_gauge_init(struct bq274xx_config* batterMonitorConfig);
extern int bq274xx_sample_fetch(struct bq274xx_data *bq274xx, enum sensor_channel chan);
extern void bas_notify(struct k_work *);


                                   
```

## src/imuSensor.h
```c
#ifndef IMUSENSOR_H_
#define IMUSENSOR_H_
#include <zephyr/kernel.h>
#include <zephyr/drivers/spi.h>
#include "arm_const_structs.h"
#include "arm_math.h"


#define READMASTER 0x80
#define WRITEMASTER 0x00
#define MAGNETOADDRESS 0x0C
#define READBIT_MAGNET 0x01
/// IMU registers
#define WHO_AM_I 0x00
#define IMU_GYRO_XOUT_H 0x33
#define I2C_SLV0_DO_IMU 0x06      // UB3
#define INT_PIN_CFG_IMU 0x0F      // UB0
#define I2C_MST_CTRL_IMU 0x01     // UB3
#define I2C_SLV0_ADDR_IMU 0x03    // UB3
#define I2C_SLV0_REG_IMU 0x04     // UB3
#define I2C_SLV0_CTRL_IMU 0x05    // UB3
#define EXT_SENSE_DATA_0_IMU 0x3B // UB0
#define REG_BANK_SEL 0x7F
#define MAGNETOMETER_CNTL2 0x31
#define MAGNETOMETER_HXL 0x11
#define MAGNETOMETER_ST1 0x10
#define ACCEL_XOUT_H 0x2D
#define INT_STAATUS_1 0x1A
#define PWR_MGMT_1 0x06
#define USER_CTRL 0x03
#define PWR_MGMT_2 0x07
#define LP_CONFIG 0x05
#define INT_PIN_CFG 0x0F
#define GYRO_SMPLRT_DIV 0x00
#define GYRO_CONFIG_1 0x01
#define ACCEL_CONFIG 0x14
#define ACCEL_SMPLRT_DIV_1 0x10
#define ACCEL_SMPLRT_DIV_2 0x11
#define I2C_MST_ODR_CONFIG 0x00
#define I2C_MST_DELAY_CTRL 0x02
// Settings
#define REG_BANK_0 0x00
#define REG_BANK_1 0x10
#define REG_BANK_2 0x20
#define REG_BANK_3 0x30
#define I2C_SLV_EN 0x80
#define SPI_FILL 0xFF
#define MAGNETO_SINGLE_MEASUREMENT 0x01
#define IMU_SLEEP 0x40
#define IMU_CLK_SEL_BEST_SEL 0x01
#define MAGNETOMETER_POWERDOWN 0x00
#define IMU_TEMP_DISABLE 0x08
#define I2C_MST_EN 0x20
#define I2C_IF_DIS 0x10
#define DISABLE_GYRO 0x07
#define ENABLE_GYRO 0x00
#define DISABLE_ACC 0x07<<3
#define ENABLE_ACC 0x00<<3
#define I2C_MST_CYCLE 0x40
#define GYRO_FCHOICE_DLPF_EN 0x01
#define GYRO_FS_SEL_250 0x00
#define GYRO_FS_SEL_500 0x02
#define GYRO_FS_SEL_1000 0x04
#define GYRO_FS_SEL_2000 0x06
#define GYRO_DLPFCFG_196HZ  0x00<<3
#define GYRO_DLPFCFG_151HZ  0x01<<3
#define GYRO_DLPFCFG_120HZ  0x02<<3
#define GYRO_DLPFCFG_51HZ  0x03<<3
#define GYRO_DLPFCFG_24HZ  0x04<<3
#define GYRO_DLPFCFG_11HZ  0x05<<3
#define GYRO_DLPFCFG_6HZ  0x06<<3
#define GYRO_DLPFCFG_361HZ  0x07<<3
#define ACCEL_FCHOICE_DLPF_ENABLE 0x01
#define ACCEL_FS_SEL_2g 0x00 //+- 2g fullscale
#define ACCEL_FS_SEL_4g 0x02 //+- 4g fullscale
#define ACCEL_FS_SEL_8g 0x04 //+- 8g fullscale
#define ACCEL_FS_SEL_16g 0x06 //+- 16g fullscale
#define ACCEL_DLPFCFG_246HZ 0x00 <<3
#define ACCEL_DLPFCFG_111HZ 0x02 <<3
#define ACCEL_DLPFCFG_50HZ 0x03 <<3
#define ACCEL_DLPFCFG_24HZ 0x04 <<3
#define ACCEL_DLPFCFG_12HZ 0x05 <<3
#define ACCEL_DLPFCFG_6HZ 0x06 <<3
#define ACCEL_DLPFCFG_473HZ 0x07 <<3
#define DELAY_ES_SHADOW 0x80
#define I2C_MST_P_NSR_STOP_READS 0x10
#define I2C_MST_CLK_370KHZ_50DUTY 0x00
#define I2C_MST_CLK_432KHZ_50DUTY 0x03
#define I2C_MST_CLK_370KHZ_42DUTY 0x04
#define I2C_MST_CLK_345KHZ_40DUTY 0x07
#define I2C_MST_CLK_304KHZ_47DUTY 0x08
#define I2C_MST_CLK_432KHZ_41DUTY 0x0A
#define I2C_MST_CLK_471KHZ_45DUTY 0x0C
#define I2C_MST_CLK_345KHZ_46DUTY 0x0E
#define MAGNETOMETER_ID 0x00
#define GYRO_SAMPLING_RATE 200
#define MAGNETO_SAMPLING_RATE 25
 
extern const struct device *spi_dev_imu;
extern struct spi_config spi_cfg_imu;
struct motionInfo {
  struct k_work work;
  uint16_t pktCounter;
  uint8_t magneto_first_read;
  uint8_t gyro_first_read;
}; 
struct magnetoInfo {
  struct k_work work;
  uint8_t *dataPacket;
  uint8_t packetLength;
}; 
struct orientationInfo {
  struct k_work work;
  uint8_t *dataPacket;
  uint8_t packetLength;
}; 
extern struct motionInfo my_motionSensor; 
extern struct magnetoInfo my_magnetoSensor; 
extern struct orientationInfo my_orientaionSensor;
struct accData {
  int16_t accx;
  int16_t accy;
  int16_t accz;
  float accx_val;
  float accy_val;
  float accz_val;
  float ENMO;
};
struct gyroData {
  uint16_t quaternion_1;
  uint16_t quaternion_2;
  uint16_t quaternion_3;
  float quaternion_1_val;
  float quaternion_2_val;
  float quaternion_3_val;
  float quaternion_4_val;
  float gyrox_val;
  float gyroy_val;
  float gyroz_val;
  bool movingFlag;
};
struct magnetoData {
  int16_t Hx;
  int16_t Hy;
  int16_t Hz;
  float Hx_val;
  float Hy_val;
  float Hz_val;
};
struct orientationData {
  float q0;
  float q1;
  float q2;
  float q3;
};
typedef enum{
  MAGNETOMETER_SINGLE,
  MAGNETOMETER_SET_EXT_SENSOR,
  MAGNETOMETER_SET_EXT_TOREAD,
} magneto_sample_config_t;

struct accel_config{
  bool isEnabled;
  bool txPacketEnable;
  uint8_t sensitivity;
  uint8_t sample_bw;
};


struct gyro_config{
  bool isEnabled;
  bool txPacketEnable;
  uint8_t sensitivity;
  uint8_t tot_samples;
  uint8_t sampling_time;
};
struct orientation_config{
  bool isEnabled;
  bool txPacketEnable;
};

struct magneto_config{
  bool isEnabled;
  bool txPacketEnable;
};

extern struct accData accData1;
extern struct gyroData gyroData1;
extern struct magnetoData magnetoData1;  
extern struct orientationData orientationData1; 
                    
extern struct accel_config accelConfig;
extern struct gyro_config gyroConfig;
extern struct magneto_config magnetoConfig;
extern struct orientation_config orientationConfig;

void motion_config(void);
void getIMUID();
void spiReadWriteIMU(uint8_t * tx_buffer, uint8_t txLen, uint8_t * rx_buffer, uint8_t rxLen);
void motion_data_timeout_handler(struct k_work *);
void motionSensitivitySampling_config(void);
void motion_data_orientation_timeout_handler(uint16_t );
void motion_sleep(void);
static void magnetometer_data_read_send(bool validMeasurement , uint16_t pktCounter);
#endif
```

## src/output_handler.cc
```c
/* Copyright 2019 The TensorFlow Authors. All Rights Reserved.

Licensed under the Apache License, Version 2.0 (the "License");
you may not use this file except in compliance with the License.
You may obtain a copy of the License at

    http://www.apache.org/licenses/LICENSE-2.0

Unless required by applicable law or agreed to in writing, software
distributed under the License is distributed on an "AS IS" BASIS,
WITHOUT WARRANTIES OR CONDITIONS OF ANY KIND, either express or implied.
See the License for the specific language governing permissions and
limitations under the License.
==============================================================================*/

#include "output_handler.h"

#include <zephyr/kernel.h>


#include "common.h"




void HandleOutput(const char* string){
  printk("%s", string);

}


void InitOutput(){
}
```

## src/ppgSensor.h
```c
#ifndef PPGSENSOR_H_
#define PPGSENSOR_H_
#include "arm_const_structs.h"
#include "arm_math.h"
#include <zephyr/kernel.h>

#define READMASTER 0x80
#define WRITEMASTER 0x00
// Register Addresses
#define PPG_INT_STAT_1 0x00
#define PPG_INT_STAT_2 0x01
#define PPG_INT_EN_1 0x02
#define PPG_FIFO_DATA_COUNTER 0x07
#define PPG_FIFO_DATA 0x08
#define PPG_FIFO_CONFIG_1 0x09
#define PPG_FIFO_CONFIG_2 0x0A
#define PPG_SYS_CTRL 0x0D
#define PPG_CONFIG_1 0x11
#define PPG_CONFIG_2 0x12
#define PPG_CONFIG_3 0x13
#define PPG_PHOTODIODE_BIAS 0x15
#define PPG_LED_SEQ_1 0x20
#define PPG_LED1_PA 0x23
#define PPG_LED2_PA 0x24
#define PPG_LED3_PA 0x25
#define PPG_LED_RANGE_1 0x2A
#define PPG_CHIP_ID_1 0xFF
// Settings
#define PPG_RESET 0x01
#define PPG_SHUTDOWN 0x02
#define PPG_LP_MODE 0x04
#define PPG_SINGLE 0x08
#define SPI_FILL 0xFF
#define PPG2_ADC_RGE_4096nA 0x00 
#define PPG2_ADC_RGE_8192nA 0x10 
#define PPG2_ADC_RGE_16384nA 0x20 
#define PPG2_ADC_RGE_32768nA 0x30 
#define PPG1_ADC_RGE_4096nA 0x00 
#define PPG1_ADC_RGE_8192nA 0x04 
#define PPG1_ADC_RGE_16384nA 0x08 
#define PPG1_ADC_RGE_32768nA 0x0C 
#define PPG_TINT_14_8us 0x00
#define PPG_TINT_29_4us 0x01
#define PPG_TINT_58_7us 0x02
#define PPG_TINT_117_3us 0x03
#define PPG_SR_25_1 0x00 <<3
#define PPG_SR_50_1 0x01 <<3
#define PPG_SR_84_1 0x02 <<3
#define PPG_SR_100_1 0x03 <<3
#define PPG_SR_200_1 0x04 <<3
#define PPG_SR_400_1 0x05 <<3
#define PPG_SR_25_2 0x06 <<3
#define PPG_SR_50_2 0x07 <<3
#define PPG_SR_84_2 0x08 <<3
#define PPG_SR_100_2 0x09 <<3
#define PPG_SR_8_1 0x0A <<3
#define PPG_SR_16_1 0x0B <<3
#define PPG_SR_32_1 0x0C <<3
#define PPG_SR_64_1 0x0D <<3
#define PPG_SR_128_1 0x0E <<3
#define PPG_SR_256_1 0x0F <<3
#define PPG_SR_512_1 0x10 <<3
#define PPG_SR_1024_1 0x11 <<3
#define PPG_SR_2048_1 0x12 <<3
#define PPG_SR_4096_1 0x13 <<3
#define PPG_SMP_AVE_1 0x00
#define PPG_SMP_AVE_2 0x01
#define PPG_SMP_AVE_4 0x02
#define PPG_SMP_AVE_8 0x03
#define PPG_SMP_AVE_16 0x04
#define PPG_SMP_AVE_32 0x05
#define PPG_SMP_AVE_64 0x06
#define PPG_SMP_AVE_128 0x07
#define PPG_LED_SETLNG_4us 0x00
#define PPG_LED_SETLNG_6us 0x40
#define PPG_LED_SETLNG_8us 0x80
#define PPG_LED_SETLNG_12us 0xC0
#define PPG_PDBIAS_65pF 0x01
#define PPG_PDBIAS_130pF 0x05
#define PPG_PDBIAS_260pF 0x06
#define PPG_PDBIAS_520pF 0x07
#define PPG_LED_CURRENT_31mA 0x00
#define PPG_LED_CURRENT_62mA 0x01
#define PPG_LED_CURRENT_93mA 0x02
#define PPG_LED_CURRENT_124mA 0x03
#define PPG_FIFO_PUSH_ENABLE 0x02
#define PPG_INT_A_FULL_EN 0x80
#define PPG_LEDC2_LED2_LED3_SIMULT 0x60
#define PPG_LEDC1_LED1 0x01

// New PPG tag types
#define PPG1_LEDC1_DATA    0x01
#define PPG1_LEDC2_DATA    0x02
#define PPG2_LEDC1_DATA    0x07
#define PPG2_LEDC2_DATA    0x08

// FIR Filter Globabl variables
#define NUM_TAPS  222
#define BLOCK_SIZE  1 
#define NUM_TAPS_MA_FIL  200
#define FLOAT_CON_16UA   (16000.0/524287.0)


// these structs are responsible for sending
struct ppgInfo {
  struct k_work work;
  bool movingFlag;
  uint16_t pktCounter;
  bool ppgTFPass;
}; 
struct ppgDataInfo {
  struct k_work work;
  //this is the pointer to the actual packets being sent
  uint8_t* dataPacket;
  uint8_t packetLength;
}; 
extern struct ppgInfo my_ppgSensor;
extern struct ppgDataInfo my_ppgDataSensor;

extern const struct device *spi_dev_ppg;
extern struct spi_config spi_cfg_ppg;
/*and also here */
struct ppgData {
float green_ch1;
float green_ch2;
float infraRed_ch1;
float infraRed_ch2;
float meanChanIR_1;
float meanChanIR_2;
float meanChanGreen_1;
float meanChanGreen_2;
float stdChanIR_1;
float stdChanIR_2;
float stdChanGreen_1;
float stdChanGreen_2;
float green_ch1_buffer[1];
float green_ch2_buffer[1];
float infraRed_ch1_buffer[1];
float infraRed_ch2_buffer[1];
uint32_t bufferIndex;
bool dataReadyTF;
};

struct ppg_configData {
  bool isEnabled;
  bool txPacketEnable;
  uint8_t sample_avg;
  uint8_t sampling_time;
  uint8_t green_intensity;
  uint8_t infraRed_intensity;
  uint8_t numCounts;
};
struct tfMicro_configData {
  bool isEnabled;
  bool txPacketEnable;
};


extern struct ppg_configData ppgConfig;
extern struct ppgData ppgData1;
extern struct tfMicro_configData tfMicroCoonfig;
void spiRead_registerPPG(uint8_t * tx_buffer, uint8_t txLen, uint8_t * rx_buffer, uint8_t rxLen);
void spiWrite_registerPPG(uint8_t * tx_buffer, uint8_t txLen);
void ppgsensor_config(void);
void ppgsensor_sleep(void);
void high_pass_filter_init_25(void);        
void high_pass_filter_init_50(void); 
void high_pass_filter_init_100(void); 
void high_pass_filter_init_200(void);                    
void ppg_config(void);
void ppg_changeIntensity(void);
void ppg_changeSamplingRate(void);
void read_ppg_fifo_buffer(struct k_work *item);
void ppg_sleep(void);
void ppg_bluetooth_fill(uint8_t* buffer_array);


void fs_umountFilesys(void);
void getFileSysSize(void);
void fs_mount_init(void);
void fileOpenRead(void);
void fileClose(void);
void fileOpenAppend(void);
void fileOpen(void);
void fileWrite(uint32_t dataFlash);
uint32_t fileRead(void);
#endif
```
